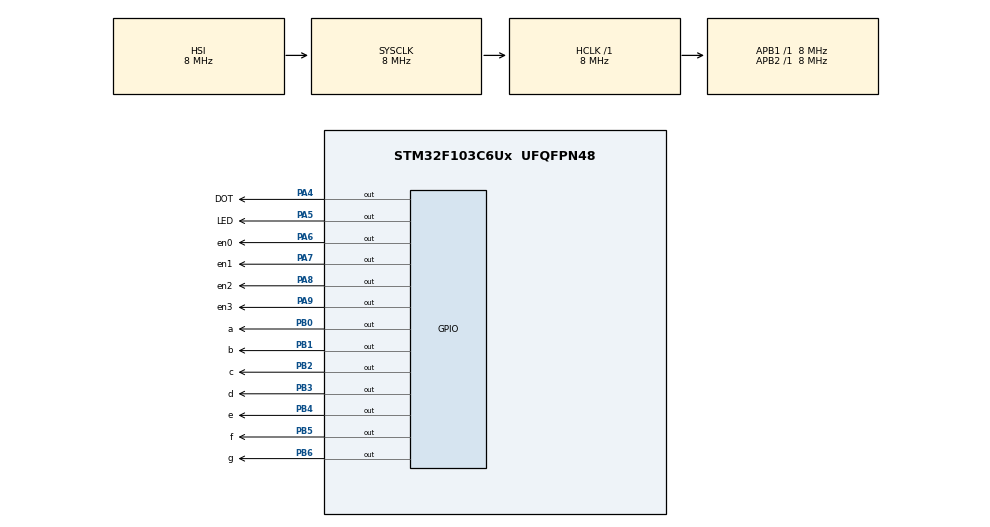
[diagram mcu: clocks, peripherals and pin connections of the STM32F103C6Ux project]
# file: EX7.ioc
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Mcu.Family=STM32F1
Mcu.Name=STM32F103C6Ux
Mcu.Package=UFQFPN48
NVIC.PriorityGroup=NVIC_PRIORITYGROUP_4
NVIC.TIM2_IRQn=true\:0\:0\:false\:false\:true\:true\:true
PA4.GPIO_Label=DOT
PA4.Signal=GPIO_Output
PA5.GPIO_Label=LED
PA5.Signal=GPIO_Output
PA6.GPIO_Label=en0
PA6.Signal=GPIO_Output
PA7.GPIO_Label=en1
PA7.Signal=GPIO_Output
PA8.GPIO_Label=en2
PA8.Signal=GPIO_Output
PA9.GPIO_Label=en3
PA9.Signal=GPIO_Output
PB0.GPIO_Label=a
PB0.Signal=GPIO_Output
PB1.GPIO_Label=b
PB1.Signal=GPIO_Output
PB2.GPIO_Label=c
PB2.Signal=GPIO_Output
PB3.GPIO_Label=d
PB3.Signal=GPIO_Output
PB4.GPIO_Label=e
PB4.Signal=GPIO_Output
PB5.GPIO_Label=f
PB5.Signal=GPIO_Output
PB6.GPIO_Label=g
PB6.Signal=GPIO_Output
ProjectManager.HeapSize=0x200
ProjectManager.StackSize=0x400
ProjectManager.TargetToolchain=STM32CubeIDE
RCC.AHBFreq_Value=8000000
RCC.APB1Freq_Value=8000000
RCC.APB1TimFreq_Value=8000000
RCC.APB2Freq_Value=8000000
RCC.APB2TimFreq_Value=8000000
RCC.HCLKFreq_Value=8000000
RCC.SYSCLKFreq_VALUE=8000000
RCC.USBFreq_Value=8000000
TIM2.Period=9
TIM2.Prescaler=7999
VP_SYS_VS_ND.Mode=No_Debug
VP_TIM2_VS_ClockSourceINT.Mode=Internal
board=custom

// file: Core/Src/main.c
/* USER CODE BEGIN Header */
/**
  ******************************************************************************
  * @file           : main.c
  * @brief          : Main program body
  ******************************************************************************
  * @attention
  *
  * <h2><center>&copy; Copyright (c) 2022 STMicroelectronics.
  * All rights reserved.</center></h2>
  *
  * This software component is licensed by ST under BSD 3-Clause license,
  * the "License"; You may not use this file except in compliance with the
  * License. You may obtain a copy of the License at:
  *                        opensource.org/licenses/BSD-3-Clause
  *
  ******************************************************************************
  */
/* USER CODE END Header */
#include "main.h"

/* USER CODE BEGIN Includes */
#include "software_timer.h"
/* USER CODE END Includes */

TIM_HandleTypeDef htim2;

void SystemClock_Config(void);
static void MX_GPIO_Init(void);
static void MX_TIM2_Init(void);

/* USER CODE BEGIN 0 */

const int MAX_LED = 4;
int index_led = 0;
int led_buffer [4] = {1 , 2 , 3 , 4};
void display7SEG(int num){
	HAL_GPIO_WritePin (GPIOB,a_Pin|b_Pin|c_Pin|d_Pin|e_Pin|f_Pin|g_Pin, GPIO_PIN_SET ) ;
	switch(num){
	case 0:
		HAL_GPIO_TogglePin (GPIOB,a_Pin|b_Pin|c_Pin|d_Pin|e_Pin|f_Pin) ;
		break;
	case 1:
		HAL_GPIO_TogglePin (GPIOB ,b_Pin|c_Pin ) ;
		break;
	case 2:
		HAL_GPIO_TogglePin (GPIOB,a_Pin|b_Pin|g_Pin|d_Pin|e_Pin) ;
		break;
	case 3:
		HAL_GPIO_TogglePin (GPIOB,a_Pin|b_Pin|g_Pin|c_Pin|d_Pin) ;
		break;
	case 4:
		HAL_GPIO_TogglePin (GPIOB,f_Pin|g_Pin|b_Pin|c_Pin) ;
		break;
	case 5:
		HAL_GPIO_TogglePin (GPIOB,a_Pin|f_Pin|g_Pin|c_Pin|d_Pin) ;
		break;
	case 6 :
		HAL_GPIO_TogglePin (GPIOB,a_Pin|f_Pin|g_Pin|e_Pin|c_Pin|d_Pin) ;
		break;
	case 7 :
		HAL_GPIO_TogglePin (GPIOB,a_Pin|b_Pin|c_Pin ) ;
		break;
	case 8:
		HAL_GPIO_TogglePin (GPIOB,a_Pin|b_Pin|c_Pin|d_Pin|e_Pin|f_Pin|g_Pin) ;
		break;
	case 9:
		HAL_GPIO_TogglePin (GPIOB,a_Pin|b_Pin|c_Pin|d_Pin|f_Pin|g_Pin) ;
		break;
	}
	return;
}

void update7SEG(int index){
	HAL_GPIO_WritePin (GPIOA,en0_Pin|en1_Pin|en2_Pin|en3_Pin, SET) ;
	switch(index){
	case 0:
		// Display the first 7 SEG with led_buffer [0]
		 HAL_GPIO_WritePin (en0_GPIO_Port,en0_Pin, GPIO_PIN_RESET ) ;
		 display7SEG(led_buffer[0]);
		break ;
	case 1:
		// Display the second 7 SEG with led_buffer [1]
		 HAL_GPIO_WritePin (en1_GPIO_Port,en1_Pin, GPIO_PIN_RESET ) ;
		 display7SEG(led_buffer[1]);
		break ;
	case 2:
		// Display the third 7 SEG with led_buffer [2]
		 HAL_GPIO_WritePin (en2_GPIO_Port,en2_Pin, GPIO_PIN_RESET ) ;
		 display7SEG(led_buffer[2]);
		break ;
	case 3:
		// Display the forth 7 SEG with led_buffer [3]
		 HAL_GPIO_WritePin (en3_GPIO_Port,en3_Pin, GPIO_PIN_RESET ) ;
		 display7SEG(led_buffer[3]);
		break ;
	default :
		index_led = 1;
		update7SEG(0);
		break ;
	}
}

/* USER CODE END 0 */

int main(void)
{

  /* MCU Configuration--------------------------------------------------------*/

  /* Reset of all peripherals, Initializes the Flash interface and the Systick. */
  HAL_Init();

  /* Configure the system clock */
  SystemClock_Config();

  /* Initialize all configured peripherals */
  MX_GPIO_Init();
  MX_TIM2_Init();
  /* USER CODE BEGIN 2 */
  HAL_TIM_Base_Start_IT (& htim2 ) ;
  int hour = 15 , minute = 8 , second = 50;
  void updateClockBuffer(){
	  //update hour
	  	  led_buffer[0] = hour/10;
		  led_buffer[1] = hour%10;
		  led_buffer[2] = minute/10;
		  led_buffer[3] = minute%10;
  }
  /* USER CODE END 2 */

  /* Infinite loop */
  /* USER CODE BEGIN WHILE */
  setTimer1(100);
  while (1)
  {
	  if (timer1_flag == 1){
		  second++;
		  if (second >= 60){
			 second = 0;
			 minute ++;
		  }
		  if(minute >= 60){
			 minute = 0;
			 hour ++;
		  }
		  if(hour >=24){
			 hour = 0;
		  }
		  updateClockBuffer();
		  HAL_GPIO_TogglePin(DOT_GPIO_Port, DOT_Pin);
		  setTimer1(100);
	  }

    /* USER CODE END WHILE */

  }
}

void SystemClock_Config(void)
{
  RCC_OscInitTypeDef RCC_OscInitStruct = {0};
  RCC_ClkInitTypeDef RCC_ClkInitStruct = {0};

  /** Initializes the RCC Oscillators according to the specified parameters
  * in the RCC_OscInitTypeDef structure.
  */
  RCC_OscInitStruct.OscillatorType = RCC_OSCILLATORTYPE_HSI;
  RCC_OscInitStruct.HSIState = RCC_HSI_ON;
  RCC_OscInitStruct.HSICalibrationValue = RCC_HSICALIBRATION_DEFAULT;
  RCC_OscInitStruct.PLL.PLLState = RCC_PLL_NONE;
  if (HAL_RCC_OscConfig(&RCC_OscInitStruct) != HAL_OK)
  {
    Error_Handler();
  }
  /** Initializes the CPU, AHB and APB buses clocks
  */
  RCC_ClkInitStruct.ClockType = RCC_CLOCKTYPE_HCLK|RCC_CLOCKTYPE_SYSCLK
                              |RCC_CLOCKTYPE_PCLK1|RCC_CLOCKTYPE_PCLK2;
  RCC_ClkInitStruct.SYSCLKSource = RCC_SYSCLKSOURCE_HSI;
  RCC_ClkInitStruct.AHBCLKDivider = RCC_SYSCLK_DIV1;
  RCC_ClkInitStruct.APB1CLKDivider = RCC_HCLK_DIV1;
  RCC_ClkInitStruct.APB2CLKDivider = RCC_HCLK_DIV1;

  if (HAL_RCC_ClockConfig(&RCC_ClkInitStruct, FLASH_LATENCY_0) != HAL_OK)
  {
    Error_Handler();
  }
}

static void MX_TIM2_Init(void)
{

  TIM_ClockConfigTypeDef sClockSourceConfig = {0};
  TIM_MasterConfigTypeDef sMasterConfig = {0};

  htim2.Instance = TIM2;
  htim2.Init.Prescaler = 7999;
  htim2.Init.CounterMode = TIM_COUNTERMODE_UP;
  htim2.Init.Period = 9;
  htim2.Init.ClockDivision = TIM_CLOCKDIVISION_DIV1;
  htim2.Init.AutoReloadPreload = TIM_AUTORELOAD_PRELOAD_DISABLE;
  if (HAL_TIM_Base_Init(&htim2) != HAL_OK)
  {
    Error_Handler();
  }
  sClockSourceConfig.ClockSource = TIM_CLOCKSOURCE_INTERNAL;
  if (HAL_TIM_ConfigClockSource(&htim2, &sClockSourceConfig) != HAL_OK)
  {
    Error_Handler();
  }
  sMasterConfig.MasterOutputTrigger = TIM_TRGO_RESET;
  sMasterConfig.MasterSlaveMode = TIM_MASTERSLAVEMODE_DISABLE;
  if (HAL_TIMEx_MasterConfigSynchronization(&htim2, &sMasterConfig) != HAL_OK)
  {
    Error_Handler();
  }

}

static void MX_GPIO_Init(void)
{
  GPIO_InitTypeDef GPIO_InitStruct = {0};

  /* GPIO Ports Clock Enable */
  __HAL_RCC_GPIOA_CLK_ENABLE();
  __HAL_RCC_GPIOB_CLK_ENABLE();

  /*Configure GPIO pin Output Level */
  HAL_GPIO_WritePin(GPIOA, DOT_Pin|LED_Pin|en0_Pin|en1_Pin
                          |en2_Pin|en3_Pin, GPIO_PIN_RESET);

  /*Configure GPIO pin Output Level */
  HAL_GPIO_WritePin(GPIOB, a_Pin|b_Pin|c_Pin|d_Pin
                          |e_Pin|f_Pin|g_Pin, GPIO_PIN_RESET);

  /*Configure GPIO pins : DOT_Pin LED_Pin en0_Pin en1_Pin
                           en2_Pin en3_Pin */
  GPIO_InitStruct.Pin = DOT_Pin|LED_Pin|en0_Pin|en1_Pin
                          |en2_Pin|en3_Pin;
  GPIO_InitStruct.Mode = GPIO_MODE_OUTPUT_PP;
  GPIO_InitStruct.Pull = GPIO_NOPULL;
  GPIO_InitStruct.Speed = GPIO_SPEED_FREQ_LOW;
  HAL_GPIO_Init(GPIOA, &GPIO_InitStruct);

  /*Configure GPIO pins : a_Pin b_Pin c_Pin d_Pin
                           e_Pin f_Pin g_Pin */
  GPIO_InitStruct.Pin = a_Pin|b_Pin|c_Pin|d_Pin
                          |e_Pin|f_Pin|g_Pin;
  GPIO_InitStruct.Mode = GPIO_MODE_OUTPUT_PP;
  GPIO_InitStruct.Pull = GPIO_NOPULL;
  GPIO_InitStruct.Speed = GPIO_SPEED_FREQ_LOW;
  HAL_GPIO_Init(GPIOB, &GPIO_InitStruct);

}

/* USER CODE BEGIN 4 */
void HAL_TIM_PeriodElapsedCallback ( TIM_HandleTypeDef * htim ){
	timerRun();
	if(timer1_flag == 1)
	 update7SEG(index_led++);

}

/* USER CODE END 4 */

void Error_Handler(void)
{
  __disable_irq();
  while (1)
  {
  }
}

/************************ (C) COPYRIGHT STMicroelectronics *****END OF FILE****/
